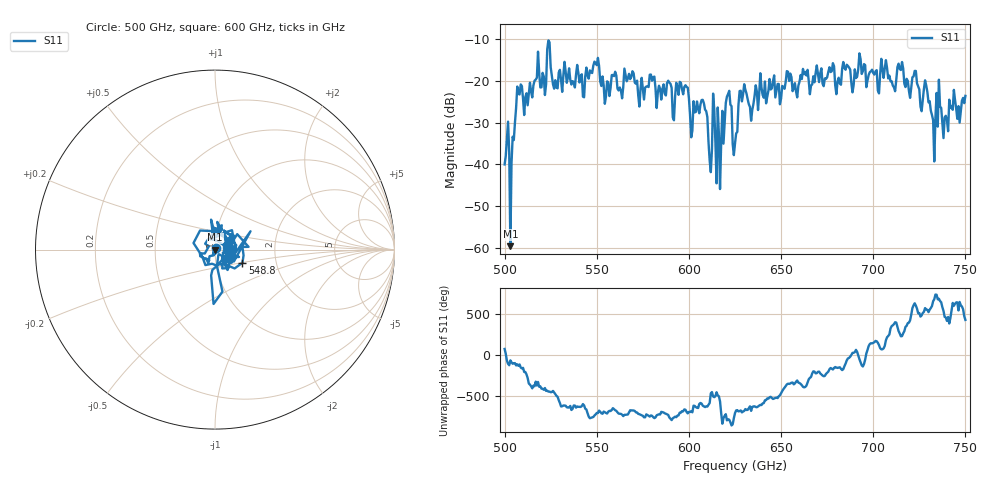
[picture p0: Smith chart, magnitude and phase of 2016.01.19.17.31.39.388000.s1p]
!Created with skrf (http://scikit-rf.org).
# GHz S RI R 50.0
!freq ReS11 ImS11
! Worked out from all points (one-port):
!   401 points, 500 GHz to 750 GHz, reference 50 ohm
!   lowest |S11| = -59.5 dB at 503.1 GHz (marker M1), VSWR 1.00, Z = 50 - j0.0979 ohm
!   |S11| at or under -10 dB: start of sweep to end of sweep
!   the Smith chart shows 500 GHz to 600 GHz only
!   S11 on the Smith chart (normalised r, x): 500 GHz: 1.01, +0.02; 548.8 GHz: 1.34, -0.20; 600 GHz: 1.12, +0.04
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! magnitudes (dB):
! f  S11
! 500 GHz  -40.0
! 503.1 GHz  -59.5
! 508.1 GHz  -23.3
! 521.2 GHz  -19.0
! 524.4 GHz  -10.8
! 527.5 GHz  -19.9
! 531.2 GHz  -22.7
! 548.8 GHz  -15.4
! 562.5 GHz  -21.6
! 593.8 GHz  -21.4
! 600 GHz  -24.2
! 608.1 GHz  -25.4
! 611.2 GHz  -39.0
! 614.4 GHz  -34.8
! 616.2 GHz  -32.6
! 621.9 GHz  -22.4
! 625 GHz  -35.0
! 628.8 GHz  -24.9
! 633.8 GHz  -29.5
! 656.2 GHz  -22.5
! 687.5 GHz  -17.3
! 710.6 GHz  -21.2
! 714.4 GHz  -17.2
! 718.8 GHz  -20.0
! 728.8 GHz  -21.1
! 732.5 GHz  -29.5
! 735.6 GHz  -19.7
! 750 GHz  -23.6
